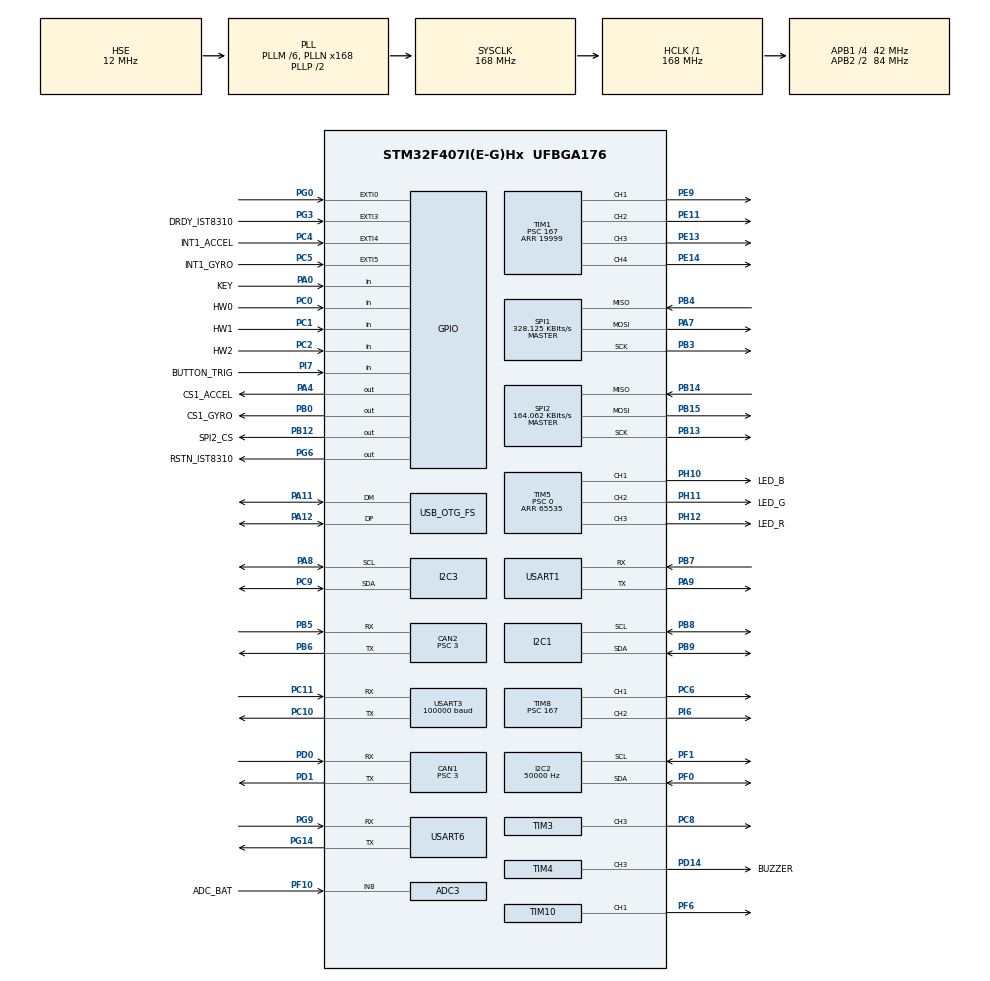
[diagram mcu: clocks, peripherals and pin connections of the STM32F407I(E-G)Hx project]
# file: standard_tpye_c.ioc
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ADC1.Channel-0\#ChannelRegularConversion=ADC_CHANNEL_TEMPSENSOR
ADC1.ClockPrescaler=ADC_CLOCK_SYNC_PCLK_DIV6
ADC1.NbrOfConversionFlag=1
ADC1.Rank-0\#ChannelRegularConversion=1
ADC1.SamplingTime-0\#ChannelRegularConversion=ADC_SAMPLETIME_3CYCLES
ADC1.master=1
ADC3.Channel-0\#ChannelRegularConversion=ADC_CHANNEL_8
ADC3.ClockPrescaler=ADC_CLOCK_SYNC_PCLK_DIV6
ADC3.NbrOfConversionFlag=1
ADC3.Rank-0\#ChannelRegularConversion=1
ADC3.SamplingTime-0\#ChannelRegularConversion=ADC_SAMPLETIME_3CYCLES
CAN1.BS1=CAN_BS1_9TQ
CAN1.BS2=CAN_BS2_4TQ
CAN1.CalculateBaudRate=1000000
CAN1.CalculateTimeBit=1000
CAN1.CalculateTimeQuantum=71.42857142857143
CAN1.Prescaler=3
CAN2.BS1=CAN_BS1_9TQ
CAN2.BS2=CAN_BS2_4TQ
CAN2.CalculateBaudRate=1000000
CAN2.CalculateTimeBit=1000
CAN2.CalculateTimeQuantum=71.42857142857143
CAN2.Prescaler=3
Dma.Request0=SPI1_RX
Dma.Request1=SPI1_TX
Dma.Request2=USART3_RX
Dma.Request3=USART6_RX
Dma.Request4=USART6_TX
Dma.Request5=USART1_TX
Dma.Request6=USART1_RX
Dma.SPI1_RX.0.Direction=DMA_PERIPH_TO_MEMORY
Dma.SPI1_RX.0.FIFOMode=DMA_FIFOMODE_DISABLE
Dma.SPI1_RX.0.Instance=DMA2_Stream2
Dma.SPI1_RX.0.MemDataAlignment=DMA_MDATAALIGN_BYTE
Dma.SPI1_RX.0.MemInc=DMA_MINC_ENABLE
Dma.SPI1_RX.0.Mode=DMA_NORMAL
Dma.SPI1_RX.0.PeriphDataAlignment=DMA_PDATAALIGN_BYTE
Dma.SPI1_RX.0.PeriphInc=DMA_PINC_DISABLE
Dma.SPI1_RX.0.Priority=DMA_PRIORITY_VERY_HIGH
Dma.SPI1_TX.1.Direction=DMA_MEMORY_TO_PERIPH
Dma.SPI1_TX.1.FIFOMode=DMA_FIFOMODE_DISABLE
Dma.SPI1_TX.1.Instance=DMA2_Stream3
Dma.SPI1_TX.1.MemDataAlignment=DMA_MDATAALIGN_BYTE
Dma.SPI1_TX.1.MemInc=DMA_MINC_ENABLE
Dma.SPI1_TX.1.Mode=DMA_NORMAL
Dma.SPI1_TX.1.PeriphDataAlignment=DMA_PDATAALIGN_BYTE
Dma.SPI1_TX.1.PeriphInc=DMA_PINC_DISABLE
Dma.SPI1_TX.1.Priority=DMA_PRIORITY_HIGH
Dma.USART1_RX.6.Direction=DMA_PERIPH_TO_MEMORY
Dma.USART1_RX.6.FIFOMode=DMA_FIFOMODE_DISABLE
Dma.USART1_RX.6.Instance=DMA2_Stream5
Dma.USART1_RX.6.MemDataAlignment=DMA_MDATAALIGN_BYTE
Dma.USART1_RX.6.MemInc=DMA_MINC_ENABLE
Dma.USART1_RX.6.Mode=DMA_CIRCULAR
Dma.USART1_RX.6.PeriphDataAlignment=DMA_PDATAALIGN_BYTE
Dma.USART1_RX.6.PeriphInc=DMA_PINC_DISABLE
Dma.USART1_RX.6.Priority=DMA_PRIORITY_MEDIUM
Dma.USART1_TX.5.Direction=DMA_MEMORY_TO_PERIPH
Dma.USART1_TX.5.FIFOMode=DMA_FIFOMODE_DISABLE
Dma.USART1_TX.5.Instance=DMA2_Stream7
Dma.USART1_TX.5.MemDataAlignment=DMA_MDATAALIGN_BYTE
Dma.USART1_TX.5.MemInc=DMA_MINC_ENABLE
Dma.USART1_TX.5.Mode=DMA_NORMAL
Dma.USART1_TX.5.PeriphDataAlignment=DMA_PDATAALIGN_BYTE
Dma.USART1_TX.5.PeriphInc=DMA_PINC_DISABLE
Dma.USART1_TX.5.Priority=DMA_PRIORITY_MEDIUM
Dma.USART3_RX.2.Direction=DMA_PERIPH_TO_MEMORY
Dma.USART3_RX.2.FIFOMode=DMA_FIFOMODE_DISABLE
Dma.USART3_RX.2.Instance=DMA1_Stream1
Dma.USART3_RX.2.MemDataAlignment=DMA_MDATAALIGN_BYTE
Dma.USART3_RX.2.MemInc=DMA_MINC_ENABLE
Dma.USART3_RX.2.Mode=DMA_NORMAL
Dma.USART3_RX.2.PeriphDataAlignment=DMA_PDATAALIGN_BYTE
Dma.USART3_RX.2.PeriphInc=DMA_PINC_DISABLE
Dma.USART3_RX.2.Priority=DMA_PRIORITY_HIGH
Dma.USART6_RX.3.Direction=DMA_PERIPH_TO_MEMORY
Dma.USART6_RX.3.FIFOMode=DMA_FIFOMODE_DISABLE
Dma.USART6_RX.3.Instance=DMA2_Stream1
Dma.USART6_RX.3.MemDataAlignment=DMA_MDATAALIGN_BYTE
Dma.USART6_RX.3.MemInc=DMA_MINC_ENABLE
Dma.USART6_RX.3.Mode=DMA_NORMAL
Dma.USART6_RX.3.PeriphDataAlignment=DMA_PDATAALIGN_BYTE
Dma.USART6_RX.3.PeriphInc=DMA_PINC_DISABLE
Dma.USART6_RX.3.Priority=DMA_PRIORITY_HIGH
Dma.USART6_TX.4.Direction=DMA_MEMORY_TO_PERIPH
Dma.USART6_TX.4.FIFOMode=DMA_FIFOMODE_DISABLE
Dma.USART6_TX.4.Instance=DMA2_Stream6
Dma.USART6_TX.4.MemDataAlignment=DMA_MDATAALIGN_BYTE
Dma.USART6_TX.4.MemInc=DMA_MINC_ENABLE
Dma.USART6_TX.4.Mode=DMA_NORMAL
Dma.USART6_TX.4.PeriphDataAlignment=DMA_PDATAALIGN_BYTE
Dma.USART6_TX.4.PeriphInc=DMA_PINC_DISABLE
Dma.USART6_TX.4.Priority=DMA_PRIORITY_MEDIUM
FREERTOS.INCLUDE_eTaskGetState=1
FREERTOS.INCLUDE_pcTaskGetTaskName=1
FREERTOS.INCLUDE_uxTaskGetStackHighWaterMark=1
FREERTOS.INCLUDE_vTaskCleanUpResources=1
FREERTOS.INCLUDE_vTaskDelayUntil=1
FREERTOS.INCLUDE_xEventGroupSetBitFromISR=1
FREERTOS.INCLUDE_xQueueGetMutexHolder=1
FREERTOS.INCLUDE_xSemaphoreGetMutexHolder=1
FREERTOS.INCLUDE_xTaskAbortDelay=1
FREERTOS.INCLUDE_xTaskGetCurrentTaskHandle=1
FREERTOS.INCLUDE_xTaskGetHandle=1
FREERTOS.INCLUDE_xTimerPendFunctionCall=1
FREERTOS.Tasks01=test,24,128,test_task,As weak,NULL,Dynamic,NULL,NULL
FREERTOS.configTOTAL_HEAP_SIZE=24576
I2C1.I2C_Mode=I2C_Fast
I2C2.ClockSpeed=50000
I2C2.I2C_Mode=I2C_Standard
I2C3.I2C_Mode=I2C_Fast
IWDG.Prescaler=IWDG_PRESCALER_32
IWDG.Reload=500
Mcu.Family=STM32F4
Mcu.Name=STM32F407I(E-G)Hx
Mcu.Package=UFBGA176
NVIC.CAN1_RX0_IRQn=true\:6\:0\:true\:false\:true\:true\:true\:true\:true
NVIC.CAN2_RX0_IRQn=true\:6\:0\:true\:false\:true\:true\:true\:true\:true
NVIC.DMA1_Stream1_IRQn=true\:5\:0\:true\:false\:false\:true\:false\:false\:true
NVIC.DMA2_Stream1_IRQn=true\:5\:0\:true\:false\:true\:true\:false\:true\:true
NVIC.DMA2_Stream2_IRQn=true\:5\:0\:true\:false\:false\:true\:false\:true\:true
NVIC.DMA2_Stream3_IRQn=true\:5\:0\:true\:false\:false\:true\:false\:true\:true
NVIC.DMA2_Stream5_IRQn=true\:5\:0\:false\:false\:true\:true\:false\:true\:true
NVIC.DMA2_Stream6_IRQn=true\:5\:0\:true\:false\:true\:true\:false\:true\:true
NVIC.DMA2_Stream7_IRQn=true\:5\:0\:true\:false\:true\:true\:false\:true\:true
NVIC.EXTI0_IRQn=true\:6\:0\:true\:false\:true\:true\:true\:true\:true
NVIC.EXTI3_IRQn=true\:5\:0\:true\:false\:true\:true\:true\:true\:true
NVIC.EXTI4_IRQn=true\:5\:0\:true\:false\:true\:true\:true\:true\:true
NVIC.EXTI9_5_IRQn=true\:5\:0\:true\:false\:true\:true\:true\:true\:true
NVIC.OTG_FS_IRQn=true\:5\:0\:false\:false\:true\:true\:false\:true\:true
NVIC.PriorityGroup=NVIC_PRIORITYGROUP_4
NVIC.USART1_IRQn=true\:5\:0\:false\:false\:true\:false\:true\:true\:true
NVIC.USART3_IRQn=true\:4\:0\:true\:false\:false\:false\:true\:true\:true
NVIC.USART6_IRQn=true\:5\:0\:true\:false\:false\:true\:true\:true\:true
PA0-WKUP.GPIO_Label=KEY
PA0-WKUP.GPIO_PuPd=GPIO_PULLUP
PA0-WKUP.Signal=GPIO_Input
PA11.Mode=Device_Only
PA11.Signal=USB_OTG_FS_DM
PA12.Mode=Device_Only
PA12.Signal=USB_OTG_FS_DP
PA13.Mode=Serial_Wire
PA13.Signal=SYS_JTMS-SWDIO
PA14.Mode=Serial_Wire
PA14.Signal=SYS_JTCK-SWCLK
PA4.GPIO_Label=CS1_ACCEL
PA4.GPIO_PuPd=GPIO_PULLUP
PA4.GPIO_Speed=GPIO_SPEED_FREQ_HIGH
PA4.PinState=GPIO_PIN_SET
PA4.Signal=GPIO_Output
PA7.GPIO_PuPd=GPIO_PULLUP
PA7.Mode=Full_Duplex_Master
PA7.Signal=SPI1_MOSI
PA8.GPIO_Pu=GPIO_PULLUP
PA8.Mode=I2C
PA8.Signal=I2C3_SCL
PA9.Mode=Asynchronous
PA9.Signal=USART1_TX
PB0.GPIO_Label=CS1_GYRO
PB0.GPIO_PuPd=GPIO_PULLUP
PB0.GPIO_Speed=GPIO_SPEED_FREQ_HIGH
PB0.PinState=GPIO_PIN_SET
PB0.Signal=GPIO_Output
PB12.GPIO_Label=SPI2_CS
PB12.GPIO_PuPd=GPIO_PULLUP
PB12.GPIO_Speed=GPIO_SPEED_FREQ_MEDIUM
PB12.PinState=GPIO_PIN_SET
PB12.Signal=GPIO_Output
PB13.GPIO_PuPd=GPIO_PULLUP
PB13.Mode=Full_Duplex_Master
PB13.Signal=SPI2_SCK
PB14.GPIO_PuPd=GPIO_PULLUP
PB14.Mode=Full_Duplex_Master
PB14.Signal=SPI2_MISO
PB15.GPIO_PuPd=GPIO_PULLUP
PB15.Mode=Full_Duplex_Master
PB15.Signal=SPI2_MOSI
PB3.GPIO_PuPd=GPIO_PULLUP
PB3.Mode=Full_Duplex_Master
PB3.Signal=SPI1_SCK
PB4.GPIO_PuPd=GPIO_PULLUP
PB4.Mode=Full_Duplex_Master
PB4.Signal=SPI1_MISO
PB5.Mode=CAN_Activate
PB5.Signal=CAN2_RX
PB6.Mode=CAN_Activate
PB6.Signal=CAN2_TX
PB7.Mode=Asynchronous
PB7.Signal=USART1_RX
PB8.GPIO_Pu=GPIO_PULLUP
PB8.Mode=I2C
PB8.Signal=I2C1_SCL
PB9.GPIO_Pu=GPIO_PULLUP
PB9.Mode=I2C
PB9.Signal=I2C1_SDA
PC0.GPIO_Label=HW0
PC0.Signal=GPIO_Input
PC1.GPIO_Label=HW1
PC1.Signal=GPIO_Input
PC10.Mode=Asynchronous
PC10.Signal=USART3_TX
PC11.Mode=Asynchronous
PC11.Signal=USART3_RX
PC2.GPIO_Label=HW2
PC2.Signal=GPIO_Input
PC4.GPIO_Label=INT1_ACCEL
PC4.GPIO_ModeDefaultEXTI=GPIO_MODE_IT_FALLING
PC4.GPIO_PuPd=GPIO_PULLUP
PC4.Signal=GPXTI4
PC5.GPIO_Label=INT1_GYRO
PC5.GPIO_ModeDefaultEXTI=GPIO_MODE_IT_FALLING
PC5.GPIO_PuPd=GPIO_PULLUP
PC5.Signal=GPXTI5
PC6.GPIO_PuPd=GPIO_PULLUP
PC6.GPIO_Speed=GPIO_SPEED_FREQ_HIGH
PC6.Signal=S_TIM8_CH1
PC8.GPIO_PuPd=GPIO_PULLUP
PC8.GPIO_Speed=GPIO_SPEED_FREQ_HIGH
PC8.Signal=S_TIM3_CH3
PC9.GPIO_Pu=GPIO_PULLUP
PC9.Mode=I2C
PC9.Signal=I2C3_SDA
PD0.Mode=CAN_Activate
PD0.Signal=CAN1_RX
PD1.Mode=CAN_Activate
PD1.Signal=CAN1_TX
PD14.GPIO_Label=BUZZER
PD14.GPIO_PuPd=GPIO_PULLUP
PD14.GPIO_Speed=GPIO_SPEED_FREQ_VERY_HIGH
PD14.Signal=S_TIM4_CH3
PE11.GPIO_PuPd=GPIO_PULLUP
PE11.GPIO_Speed=GPIO_SPEED_FREQ_HIGH
PE11.Signal=S_TIM1_CH2
PE13.GPIO_PuPd=GPIO_PULLUP
PE13.GPIO_Speed=GPIO_SPEED_FREQ_HIGH
PE13.Signal=S_TIM1_CH3
PE14.GPIO_PuPd=GPIO_PULLUP
PE14.GPIO_Speed=GPIO_SPEED_FREQ_HIGH
PE14.Signal=S_TIM1_CH4
PE9.GPIO_PuPd=GPIO_PULLUP
PE9.GPIO_Speed=GPIO_SPEED_FREQ_HIGH
PE9.Signal=S_TIM1_CH1
PF0.Mode=I2C
PF0.Signal=I2C2_SDA
PF1.Mode=I2C
PF1.Signal=I2C2_SCL
PF10.GPIO_Label=ADC_BAT
PF10.Mode=IN8
PF10.Signal=ADC3_IN8
PF6.GPIO_PuPd=GPIO_PULLUP
PF6.GPIO_Speed=GPIO_SPEED_FREQ_HIGH
PF6.Signal=S_TIM10_CH1
PG0.GPIO_ModeDefaultEXTI=GPIO_MODE_IT_FALLING
PG0.GPIO_PuPd=GPIO_PULLUP
PG0.Signal=GPXTI0
PG14.Mode=Asynchronous
PG14.Signal=USART6_TX
PG3.GPIO_Label=DRDY_IST8310
PG3.GPIO_ModeDefaultEXTI=GPIO_MODE_IT_FALLING
PG3.GPIO_PuPd=GPIO_PULLUP
PG3.Signal=GPXTI3
PG6.GPIO_Label=RSTN_IST8310
PG6.GPIO_PuPd=GPIO_PULLUP
PG6.GPIO_Speed=GPIO_SPEED_FREQ_MEDIUM
PG6.PinState=GPIO_PIN_SET
PG6.Signal=GPIO_Output
PG9.Mode=Asynchronous
PG9.Signal=USART6_RX
PH0-OSC_IN.Mode=HSE-External-Oscillator
PH0-OSC_IN.Signal=RCC_OSC_IN
PH1-OSC_OUT.Mode=HSE-External-Oscillator
PH1-OSC_OUT.Signal=RCC_OSC_OUT
PH10.GPIO_Label=LED_B
PH10.GPIO_PuPd=GPIO_PULLUP
PH10.GPIO_Speed=GPIO_SPEED_FREQ_HIGH
PH10.Signal=S_TIM5_CH1
PH11.GPIO_Label=LED_G
PH11.GPIO_PuPd=GPIO_PULLUP
PH11.GPIO_Speed=GPIO_SPEED_FREQ_HIGH
PH11.Signal=S_TIM5_CH2
PH12.GPIO_Label=LED_R
PH12.GPIO_PuPd=GPIO_PULLUP
PH12.GPIO_Speed=GPIO_SPEED_FREQ_HIGH
PH12.Signal=S_TIM5_CH3
PI6.GPIO_PuPd=GPIO_PULLUP
PI6.GPIO_Speed=GPIO_SPEED_FREQ_HIGH
PI6.Signal=S_TIM8_CH2
PI7.GPIO_Label=BUTTON_TRIG
PI7.GPIO_PuPd=GPIO_PULLUP
PI7.Signal=GPIO_Input
ProjectManager.HeapSize=0x2000
ProjectManager.StackSize=0x2000
ProjectManager.TargetToolchain=MDK-ARM V5.32
RCC.48MHZClocksFreq_Value=48000000
RCC.AHBFreq_Value=168000000
RCC.APB1CLKDivider=RCC_HCLK_DIV4
RCC.APB1Freq_Value=42000000
RCC.APB1TimFreq_Value=84000000
RCC.APB2CLKDivider=RCC_HCLK_DIV2
RCC.APB2Freq_Value=84000000
RCC.APB2TimFreq_Value=168000000
RCC.CortexFreq_Value=168000000
RCC.HCLKFreq_Value=168000000
RCC.HSE_VALUE=12000000
RCC.HSI_VALUE=16000000
RCC.LSE_VALUE=32768
RCC.PLLM=6
RCC.PLLN=168
RCC.PLLQ=7
RCC.RCC_RTC_Clock_SourceVirtual=RCC_RTCCLKSOURCE_HSE_DIV30
RCC.RCC_RTC_Clock_Source_FROM_HSE=RCC_RTCCLKSOURCE_HSE_DIV30
RCC.SYSCLKFreq_VALUE=168000000
RCC.SYSCLKSource=RCC_SYSCLKSOURCE_PLLCLK
RCC.VCOOutputFreq_Value=336000000
RTC.AsynchPrediv=124
RTC.SynchPrediv=3199
SH.S_TIM10_CH1.0=TIM10_CH1,PWM Generation1 CH1
SH.S_TIM1_CH1.0=TIM1_CH1,PWM Generation1 CH1
SH.S_TIM1_CH2.0=TIM1_CH2,PWM Generation2 CH2
SH.S_TIM1_CH3.0=TIM1_CH3,PWM Generation3 CH3
SH.S_TIM1_CH4.0=TIM1_CH4,PWM Generation4 CH4
SH.S_TIM3_CH3.0=TIM3_CH3,PWM Generation3 CH3
SH.S_TIM4_CH3.0=TIM4_CH3,PWM Generation3 CH3
SH.S_TIM5_CH1.0=TIM5_CH1,PWM Generation1 CH1
SH.S_TIM5_CH2.0=TIM5_CH2,PWM Generation2 CH2
SH.S_TIM5_CH3.0=TIM5_CH3,PWM Generation3 CH3
SH.S_TIM8_CH1.0=TIM8_CH1,PWM Generation1 CH1
SH.S_TIM8_CH2.0=TIM8_CH2,PWM Generation2 CH2
SPI1.BaudRatePrescaler=SPI_BAUDRATEPRESCALER_256
SPI1.CLKPhase=SPI_PHASE_2EDGE
SPI1.CLKPolarity=SPI_POLARITY_HIGH
SPI1.CalculateBaudRate=328.125 KBits/s
SPI1.Direction=SPI_DIRECTION_2LINES
SPI1.Mode=SPI_MODE_MASTER
SPI1.VirtualType=VM_MASTER
SPI2.BaudRatePrescaler=SPI_BAUDRATEPRESCALER_256
SPI2.CLKPhase=SPI_PHASE_2EDGE
SPI2.CLKPolarity=SPI_POLARITY_HIGH
SPI2.CalculateBaudRate=164.062 KBits/s
SPI2.Direction=SPI_DIRECTION_2LINES
SPI2.Mode=SPI_MODE_MASTER
SPI2.VirtualType=VM_MASTER
TIM1.Channel-PWM\ Generation1\ CH1=TIM_CHANNEL_1
TIM1.Channel-PWM\ Generation2\ CH2=TIM_CHANNEL_2
TIM1.Channel-PWM\ Generation3\ CH3=TIM_CHANNEL_3
TIM1.Channel-PWM\ Generation4\ CH4=TIM_CHANNEL_4
TIM1.Period=19999
TIM1.Prescaler=167
TIM1.Pulse-PWM\ Generation1\ CH1=1000
TIM1.Pulse-PWM\ Generation2\ CH2=1000
TIM1.Pulse-PWM\ Generation3\ CH3=1000
TIM1.Pulse-PWM\ Generation4\ CH4=1000
TIM10.Channel=TIM_CHANNEL_1
TIM10.Period=4999
TIM3.Channel-PWM\ Generation3\ CH3=TIM_CHANNEL_3
TIM3.Period=8399
TIM4.Channel-PWM\ Generation3\ CH3=TIM_CHANNEL_3
TIM4.Period=65535
TIM4.Prescaler=167
TIM5.Channel-PWM\ Generation1\ CH1=TIM_CHANNEL_1
TIM5.Channel-PWM\ Generation2\ CH2=TIM_CHANNEL_2
TIM5.Channel-PWM\ Generation3\ CH3=TIM_CHANNEL_3
TIM5.Period=65535
TIM5.Prescaler=0
TIM8.Channel-PWM\ Generation1\ CH1=TIM_CHANNEL_1
TIM8.Channel-PWM\ Generation2\ CH2=TIM_CHANNEL_2
TIM8.Period=19999
TIM8.Prescaler=167
TIM8.Pulse-PWM\ Generation1\ CH1=1000
TIM8.Pulse-PWM\ Generation2\ CH2=1000
USART1.VirtualMode=VM_ASYNC
USART3.BaudRate=100000
USART3.Parity=PARITY_EVEN
USART3.VirtualMode=VM_ASYNC
USART6.VirtualMode=VM_ASYNC
USB_DEVICE.CLASS_NAME_FS=CDC
USB_DEVICE.VirtualMode-CDC_FS=Cdc
USB_DEVICE.VirtualModeFS=Cdc_FS
USB_OTG_FS.VirtualMode=Device_Only
VP_ADC1_TempSens_Input.Mode=IN-TempSens
VP_ADC1_Vref_Input.Mode=IN-Vrefint
VP_CRC_VS_CRC.Mode=CRC_Activate
VP_FREERTOS_VS_CMSIS_V1.Mode=CMSIS_V1
VP_IWDG_VS_IWDG.Mode=IWDG_Activate
VP_RNG_VS_RNG.Mode=RNG_Activate
VP_RTC_VS_RTC_Activate.Mode=RTC_Enabled
VP_TIM10_VS_ClockSourceINT.Mode=Enable_Timer
VP_TIM1_VS_ClockSourceINT.Mode=Internal
VP_TIM3_VS_ClockSourceINT.Mode=Internal
VP_TIM4_VS_ClockSourceINT.Mode=Internal
VP_TIM5_VS_ClockSourceINT.Mode=Internal
VP_TIM8_VS_ClockSourceINT.Mode=Internal
VP_USB_DEVICE_VS_USB_DEVICE_CDC_FS.Mode=CDC_FS
board=custom

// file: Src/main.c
/* USER CODE BEGIN Header */
/**
  ******************************************************************************
  * @file           : main.c
  * @brief          : Main program body
  ******************************************************************************
  * @attention
  *
  * <h2><center>&copy; Copyright (c) 2019 STMicroelectronics.
  * All rights reserved.</center></h2>
  *
  * This software component is licensed by ST under Ultimate Liberty license
  * SLA0044, the "License"; You may not use this file except in compliance with
  * the License. You may obtain a copy of the License at:
  *                             www.st.com/SLA0044
  *
  ******************************************************************************
  */
/* USER CODE END Header */
#include "main.h"
#include "cmsis_os.h"
#include "adc.h"
#include "can.h"
#include "crc.h"
#include "dma.h"
#include "i2c.h"
#include "rng.h"
#include "rtc.h"
#include "spi.h"
#include "tim.h"
#include "usart.h"
#include "usb_device.h"
#include "gpio.h"

/* USER CODE BEGIN Includes */
#include "bsp_can.h"
#include "bsp_delay.h"
#include "bsp_usart.h"
#include "calibrate_task.h"
#include "chassis_task.h"
#include "INS_task.h"
#include "led_flow_task.h"
#include "referee.h"
#include "referee_usart_task.h"
#include "remote_control.h"
#include "video_transmission_module.h"

/* USER CODE END Includes */

void SystemClock_Config(void);
void MX_FREERTOS_Init(void);

int main(void)
{

  /* MCU Configuration--------------------------------------------------------*/

  /* Reset of all peripherals, Initializes the Flash interface and the Systick. */
  HAL_Init();

  /* Configure the system clock */
  SystemClock_Config();

  /* Initialize all configured peripherals */
  MX_GPIO_Init();
  MX_DMA_Init();
  MX_ADC1_Init();
  MX_ADC3_Init();
  MX_CAN1_Init();
  MX_CAN2_Init();
  MX_I2C1_Init();
  MX_SPI1_Init();
  MX_TIM4_Init();
  MX_TIM5_Init();
  MX_USART3_UART_Init();
  MX_TIM8_Init();
  MX_CRC_Init();
  MX_RNG_Init();
  MX_I2C2_Init();
  MX_I2C3_Init();
  MX_RTC_Init();
  MX_SPI2_Init();
  MX_TIM1_Init();
  MX_TIM3_Init();
  MX_TIM10_Init();
  MX_USART1_UART_Init();
  MX_USART6_UART_Init();
  /* USER CODE BEGIN 2 */
	can_filter_init();
	delay_init();
	cali_param_init();
	remote_control_init();

	usart1_init();
	usart1_receive();

	usart1_tx_dma_init();

	vtm_data_init();

	// 1.1 USB Device/CDC 栈初始化，原由已删除的 test_task 调用，现改为调度器启动前执行
	MX_USB_DEVICE_Init();

  /* USER CODE END 2 */

  /* Call init function for freertos objects (in cmsis_os2.c) */
  MX_FREERTOS_Init();

  /* Start scheduler */
  osKernelStart();

  /* We should never get here as control is now taken by the scheduler */

  /* Infinite loop */
	while (1)
  {

	}
}

void SystemClock_Config(void)
{
  RCC_OscInitTypeDef RCC_OscInitStruct = {0};
  RCC_ClkInitTypeDef RCC_ClkInitStruct = {0};

  /** Configure the main internal regulator output voltage
  */
  __HAL_RCC_PWR_CLK_ENABLE();
  __HAL_PWR_VOLTAGESCALING_CONFIG(PWR_REGULATOR_VOLTAGE_SCALE1);

  /** Initializes the RCC Oscillators according to the specified parameters
  * in the RCC_OscInitTypeDef structure.
  */
  RCC_OscInitStruct.OscillatorType = RCC_OSCILLATORTYPE_LSI|RCC_OSCILLATORTYPE_HSE;
  RCC_OscInitStruct.HSEState = RCC_HSE_ON;
  RCC_OscInitStruct.LSIState = RCC_LSI_ON;
  RCC_OscInitStruct.PLL.PLLState = RCC_PLL_ON;
  RCC_OscInitStruct.PLL.PLLSource = RCC_PLLSOURCE_HSE;
  RCC_OscInitStruct.PLL.PLLM = 6;
  RCC_OscInitStruct.PLL.PLLN = 168;
  RCC_OscInitStruct.PLL.PLLP = RCC_PLLP_DIV2;
  RCC_OscInitStruct.PLL.PLLQ = 7;
  if (HAL_RCC_OscConfig(&RCC_OscInitStruct) != HAL_OK)
  {
    Error_Handler();
  }

  /** Initializes the CPU, AHB and APB buses clocks
  */
  RCC_ClkInitStruct.ClockType = RCC_CLOCKTYPE_HCLK|RCC_CLOCKTYPE_SYSCLK
                              |RCC_CLOCKTYPE_PCLK1|RCC_CLOCKTYPE_PCLK2;
  RCC_ClkInitStruct.SYSCLKSource = RCC_SYSCLKSOURCE_PLLCLK;
  RCC_ClkInitStruct.AHBCLKDivider = RCC_SYSCLK_DIV1;
  RCC_ClkInitStruct.APB1CLKDivider = RCC_HCLK_DIV4;
  RCC_ClkInitStruct.APB2CLKDivider = RCC_HCLK_DIV2;

  if (HAL_RCC_ClockConfig(&RCC_ClkInitStruct, FLASH_LATENCY_5) != HAL_OK)
  {
    Error_Handler();
  }
}

void Error_Handler(void)
{
  __disable_irq();
  while (1)
  {
  }
}

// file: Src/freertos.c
/* USER CODE BEGIN Header */
/**
  ******************************************************************************
  * File Name          : freertos.c
  * Description        : Code for freertos applications
  ******************************************************************************
  * @attention
  *
  * <h2><center>&copy; Copyright (c) 2019 STMicroelectronics.
  * All rights reserved.</center></h2>
  *
  * This software component is licensed by ST under Ultimate Liberty license
  * SLA0044, the "License"; You may not use this file except in compliance with
  * the License. You may obtain a copy of the License at:
  *                             www.st.com/SLA0044
  *
  ******************************************************************************
  */
/* USER CODE END Header */

#include "FreeRTOS.h"
#include "task.h"
#include "main.h"
#include "cmsis_os.h"

/* USER CODE BEGIN Includes */

#include "chassis_task.h"
#include "INS_task.h"
#include "led_flow_task.h"
#include "referee_usart_task.h"
#include "remote_control.h"
#include "servo_task.h"
#include "message_task.h"
#include "UI.h"
/* USER CODE END Includes */

/* USER CODE BEGIN PTD */

osThreadId chassisTaskHandle;
osThreadId imuTaskHandle;
osThreadId led_RGB_flow_handle;
osThreadId referee_usart_task_handle;
osThreadId servo_task_handle;
osThreadId message_task_handle;
osThreadId UI_task_handle;

/* USER CODE END PTD */

extern void MX_USB_DEVICE_Init(void);
void MX_FREERTOS_Init(void); /* (MISRA C 2004 rule 8.1) */

/* GetIdleTaskMemory prototype (linked to static allocation support) */
void vApplicationGetIdleTaskMemory( StaticTask_t **ppxIdleTaskTCBBuffer, StackType_t **ppxIdleTaskStackBuffer, uint32_t *pulIdleTaskStackSize );

/* GetTimerTaskMemory prototype (linked to static allocation support) */
void vApplicationGetTimerTaskMemory( StaticTask_t **ppxTimerTaskTCBBuffer, StackType_t **ppxTimerTaskStackBuffer, uint32_t *pulTimerTaskStackSize );

/* USER CODE BEGIN GET_IDLE_TASK_MEMORY */
static StaticTask_t xIdleTaskTCBBuffer;
static StackType_t xIdleStack[configMINIMAL_STACK_SIZE];

void vApplicationGetIdleTaskMemory( StaticTask_t **ppxIdleTaskTCBBuffer, StackType_t **ppxIdleTaskStackBuffer, uint32_t *pulIdleTaskStackSize )
{
  *ppxIdleTaskTCBBuffer = &xIdleTaskTCBBuffer;
  *ppxIdleTaskStackBuffer = &xIdleStack[0];
  *pulIdleTaskStackSize = configMINIMAL_STACK_SIZE;
  /* place for user code */
}
/* USER CODE END GET_IDLE_TASK_MEMORY */

/* USER CODE BEGIN GET_TIMER_TASK_MEMORY */
static StaticTask_t xTimerTaskTCBBuffer;
static StackType_t xTimerStack[configTIMER_TASK_STACK_DEPTH];

void vApplicationGetTimerTaskMemory( StaticTask_t **ppxTimerTaskTCBBuffer, StackType_t **ppxTimerTaskStackBuffer, uint32_t *pulTimerTaskStackSize )
{
  *ppxTimerTaskTCBBuffer = &xTimerTaskTCBBuffer;
  *ppxTimerTaskStackBuffer = &xTimerStack[0];
  *pulTimerTaskStackSize = configTIMER_TASK_STACK_DEPTH;
  /* place for user code */
}
/* USER CODE END GET_TIMER_TASK_MEMORY */

void MX_FREERTOS_Init(void) {

  /* Create the thread(s) */
  /* USER CODE BEGIN RTOS_THREADS */
  /* add threads, ... */
	osThreadDef(message, message_task, osPriorityNormal, 0, 128);
	message_task_handle = osThreadCreate(osThread(message), NULL);

	osThreadDef(imuTask, INS_task, osPriorityRealtime, 0, 1024);
	imuTaskHandle = osThreadCreate(osThread(imuTask), NULL);

	osThreadDef(led, led_RGB_flow_task, osPriorityNormal, 0, 128);
	led_RGB_flow_handle = osThreadCreate(osThread(led), NULL);

	/* �����̹̼�Ϊ���̰壨chassis_board�����������������ϵͳ���� */
	osThreadDef(ChassisTask, chassis_task, osPriorityHigh , 0, 1024);
	chassisTaskHandle = osThreadCreate(osThread(ChassisTask), NULL);

	osThreadDef(REFEREE, referee_usart_task, osPriorityNormal, 0, 128);
	referee_usart_task_handle = osThreadCreate(osThread(REFEREE), NULL);

	osThreadDef(SERVO, servo_task, osPriorityNormal, 0, 128);
	servo_task_handle = osThreadCreate(osThread(SERVO), NULL);

	osThreadDef(UI, UI_task, osPriorityNormal, 0, 512);
	UI_task_handle = osThreadCreate(osThread(UI), NULL);
  /* USER CODE END RTOS_THREADS */

}
